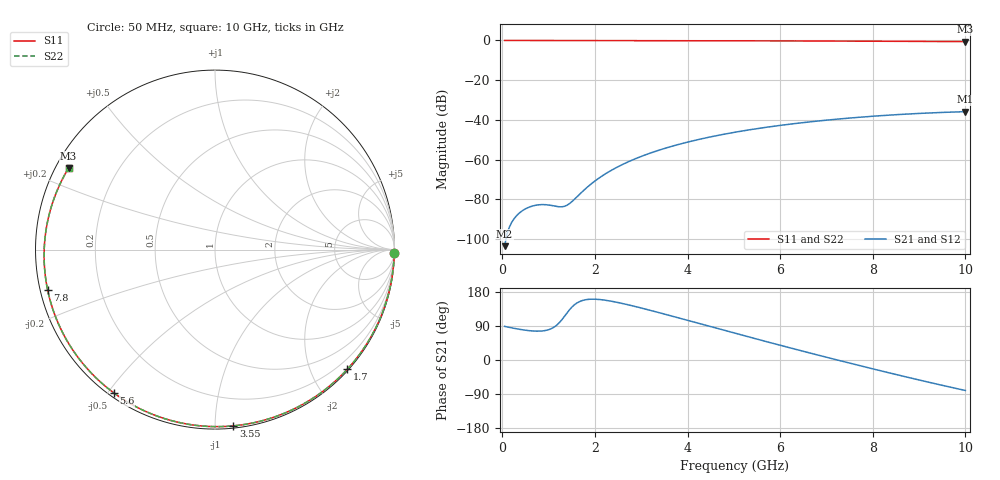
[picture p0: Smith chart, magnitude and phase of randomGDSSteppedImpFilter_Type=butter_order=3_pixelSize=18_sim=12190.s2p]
! freq	dB(S11)	phase(S11)	dB(S12)	phase(S12)
!  dB(S21)	phase(S21)	dB(S22)	phase(S22)
!S-par simulation data
#  GHz  S  DB  R 50
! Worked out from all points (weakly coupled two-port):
!   200 points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, 50 MHz to 10 GHz, reference 50 ohm
!   highest |S21| = -35.84 dB at 10 GHz (marker M1); lowest = -103.6 dB at 50 MHz (marker M2)
!   lowest |S11| = -0.6 dB at 10 GHz (marker M3), VSWR 29.16, Z = 1.83 + j13 ohm
!   |S11| at or under -10 dB: nowhere
!   |S22| runs from -0.6 to 0.0 dB; largest |S21 - S12| = 0
!   S11 on the Smith chart (normalised r, x): 50 MHz: 3, -94; 1.7 GHz: 0.02, -2.60; 3.55 GHz: 0.01, -1.11; 5.6 GHz: 0.01, -0.52; 7.8 GHz: 0.02, -0.12; 10 GHz: 0.04, +0.26
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0.05  -0.01 -1.2  -103.58 88.7  -103.58 88.7  -0.01 -1.2
0.4  -0.02 -10.1  -86.29 80.4  -86.29 80.4  -0.02 -10.1
0.75  -0.02 -18.8  -82.86 76.1  -82.86 76.1  -0.02 -18.8
1.15  -0.04 -28.7  -83.46 89.5  -83.46 89.5  -0.04 -28.7
1.55  -0.05 -38.5  -80.16 144.9  -80.16 144.9  -0.05 -38.5
1.7  -0.05 -42.1  -76.75 155.7  -76.75 155.7  -0.05 -42.1
1.75  -0.05 -43.3  -75.65 157.7  -75.65 157.7  -0.05 -43.3
2.05  -0.06 -50.4  -69.91 160.1  -69.91 160.1  -0.06 -50.4
2.45  -0.08 -59.7  -64.17 152.9  -64.17 152.9  -0.08 -59.7
2.9  -0.09 -69.8  -59.31 140.3  -59.31 140.3  -0.09 -69.8
3.4  -0.10 -80.8  -55.12 124.5  -55.12 124.5  -0.10 -80.8
3.55  -0.11 -84.0  -54.05 119.6  -54.05 119.6  -0.11 -84.0
4.3  -0.14 -99.7  -49.54 94.7  -49.54 94.7  -0.14 -99.7
5.05  -0.17 -114.7  -46.10 69.8  -46.10 69.8  -0.17 -114.7
5.6  -0.20 -125.3  -44.06 51.8  -44.06 51.8  -0.20 -125.3
6.15  -0.23 -135.7  -42.32 34.1  -42.32 34.1  -0.23 -135.7
6.7  -0.27 -145.9  -40.84 16.6  -40.84 16.6  -0.27 -145.9
7.25  -0.31 -156.1  -39.58 -0.5  -39.58 -0.5  -0.31 -156.1
7.8  -0.36 -166.3  -38.50 -17.3  -38.50 -17.3  -0.36 -166.3
8.35  -0.41 -176.6  -37.60 -33.8  -37.60 -33.8  -0.41 -176.6
9.2  -0.50 167.0  -36.53 -58.4  -36.53 -58.4  -0.50 167.0
10  -0.60 150.9  -35.84 -80.4  -35.84 -80.4  -0.60 150.9
